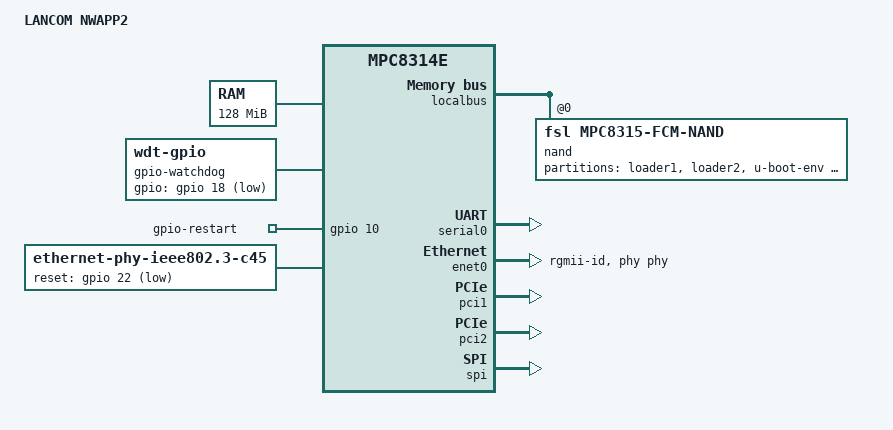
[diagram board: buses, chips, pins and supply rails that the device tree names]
// SPDX-License-Identifier: GPL-2.0-or-later
// Copyright 2024 J. Neuschäfer
//
// LANCOM NWAPP2, marketed as:
// - LANCOM L-321agn Wireless (R2)
// - LANCOM L-322agn dual Wireless (R2)
// - LANCOM L-322E Wireless
#include "mpc8314e.dtsi"

#include <dt-bindings/gpio/gpio.h>

/ {
	compatible = "lancom,nwapp2", "fsl,mpc8314e";
	model = "LANCOM NWAPP2";

	memory {
		reg = <0x00000000 0x08000000>;	// 128MB at 0
	};

	chosen {
		stdout-path = &serial0;
		tick-timer = &timer;
	};

	gpio-watchdog {
		compatible = "linux,wdt-gpio";
		gpios = <&gpio 18 GPIO_ACTIVE_LOW>;
		hw_algo = "toggle";
		hw_margin_ms = <1000>;
	};

	gpio-restart {
		compatible = "gpio-restart";
		gpios = <&gpio 10 GPIO_ACTIVE_HIGH>;
	};
};

&localbus {
	status = "okay";
	ranges = <0x0 0x0 0xfe000000 0x00008000>;

	nand@0,0 {
		#address-cells = <1>;
		#size-cells = <1>;
		compatible = "fsl,mpc8315-fcm-nand",
			     "fsl,elbc-fcm-nand";
		reg = <0x0 0x0 0x2000>;

		partitions {
			compatible = "fixed-partitions";
			#address-cells = <1>;
			#size-cells = <1>;

			partition@0 {
				label = "loader1";
				reg = <0x0 0x8000>;
				read-only;
			};

			partition@8000 {
				label = "loader2";
				reg = <0x8000 0x78000>;
				read-only;
			};

			// 0x80000:0xf80000 is designated "loader spare" by
			// vendor firmware, but we re-use it for our purposes.

			partition@80000 {
				label = "u-boot-env";
				reg = <0x80000 0x80000>;
			};

			partition@100000 {
				label = "loader-spare";
				reg = <0x100000 0xf00000>;
			};

			partition@1000000 {
				label = "fs";
				reg = <0x1000000 0xf000000>;
				/* YAFFS2 filesystem */
			};
		};
	};
};

&serial0 {
	status = "okay";
};

&enet0 {
	phy-handle = <&phy>;
	phy-mode = "rgmii-id";
	status = "okay";
};

&mdio0 {
	status = "okay";
	compatible = "fsl,gianfar-mdio", "simple-bus";

	phy: ethernet-phy@1 {
		reg = <1>;
		compatible = "ethernet-phy-ieee802.3-c45";
		reset-gpios = <&gpio 22 GPIO_ACTIVE_LOW>;
	};
};

&pci1 {
	status = "okay";
};

&pci2 {
	status = "okay";
};

&spi {
	status = "okay";
};
